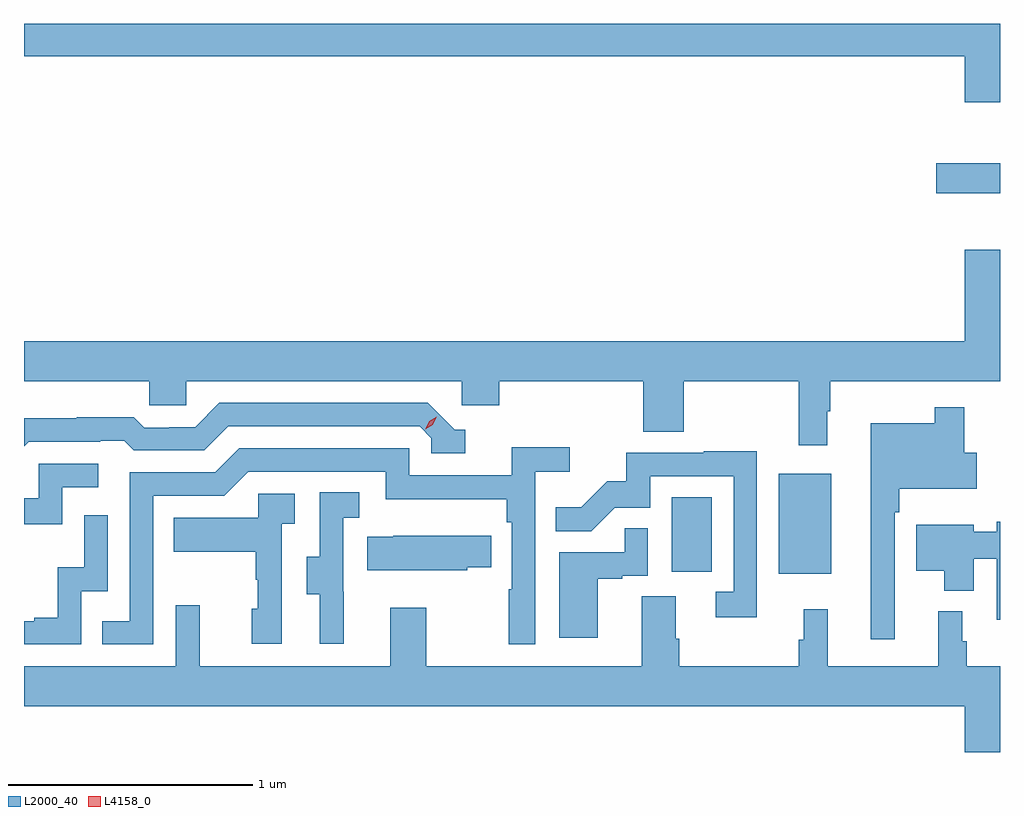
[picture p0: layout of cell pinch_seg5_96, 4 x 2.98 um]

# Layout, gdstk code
import gdstk
lib = gdstk.Library(unit=1e-6, precision=1e-09)
def R(c, l, rs):  # rectangles x0, y0, x1, y1
    for r in rs: c.add(gdstk.rectangle(r[:2], r[2:], *l))
def P(c, l, *ps):  # polygons
    for p in ps: c.add(gdstk.Polygon(p, *l))
L2000_40 = (2000, 40)
L4158_0 = (4158, 0)

pinch_seg5_96 = lib.new_cell('pinch_seg5_96')
R(pinch_seg5_96, L2000_40, [(1075.334,913.247,1075.549,913.657), (1074.896,913.254,1075.06,913.561), (1075.98,914.807,1076.241,914.929)])
P(pinch_seg5_96, L2000_40, [(1076.241,915.5),(1072.241,915.5),(1072.241,915.368),(1076.096,915.368),(1076.096,915.18),(1076.241,915.18)],
  [(1075.534,913.913),(1075.546,913.913),(1075.546,914.036),(1076.241,914.036),(1076.241,914.575),(1076.096,914.575),(1076.096,914.2),(1072.241,914.2),(1072.241,914.036),(1072.755,914.036),(1072.755,913.938),(1072.905,913.938),(1072.905,914.036),(1074.036,914.036),(1074.036,913.938),(1074.188,913.938),(1074.188,914.036),(1074.779,914.036),(1074.779,913.828),(1074.944,913.828),(1074.944,914.036),(1075.417,914.036),(1075.417,913.773),(1075.534,913.773)],
  [(1074.049,913.836),(1074.006,913.836),(1073.895,913.947),(1073.042,913.947),(1072.943,913.848),(1072.836,913.848),(1072.836,913.845),(1072.733,913.845),(1072.691,913.888),(1072.458,913.888),(1072.458,913.885),(1072.241,913.885),(1072.241,913.769),(1072.26,913.788),(1072.553,913.788),(1072.553,913.791),(1072.652,913.791),(1072.691,913.752),(1072.98,913.752),(1073.079,913.851),(1073.862,913.851),(1073.91,913.803),(1073.91,913.74),(1074.049,913.74)],
  [(1075.809,913.499),(1075.829,913.499),(1075.829,913.595),(1076.146,913.595),(1076.146,913.743),(1076.095,913.743),(1076.095,913.93),(1075.974,913.93),(1075.974,913.864),(1075.712,913.864),(1075.712,912.978),(1075.809,912.978)],
  [(1072.77,913.566),(1073.061,913.566),(1073.16,913.665),(1073.724,913.665),(1073.724,913.553),(1074.22,913.553),(1074.22,913.457),(1074.24,913.457),(1074.24,913.184),(1074.228,913.184),(1074.228,912.957),(1074.336,912.957),(1074.336,913.664),(1074.478,913.664),(1074.478,913.766),(1074.239,913.766),(1074.239,913.65),(1073.82,913.65),(1073.82,913.761),(1073.123,913.761),(1073.024,913.662),(1072.674,913.662),(1072.674,913.053),(1072.561,913.053),(1072.561,912.957),(1072.77,912.957)],
  [(1075.245,913.748),(1075.027,913.748),(1075.027,913.743),(1074.709,913.743),(1074.709,913.626),(1074.632,913.626),(1074.525,913.519),(1074.421,913.519),(1074.421,913.42),(1074.565,913.42),(1074.663,913.518),(1074.807,913.518),(1074.807,913.647),(1075.149,913.647),(1075.149,913.173),(1075.077,913.173),(1075.077,913.068),(1075.245,913.068)],
  [(1072.398,913.602),(1072.546,913.602),(1072.546,913.698),(1072.302,913.698),(1072.302,913.557),(1072.241,913.557),(1072.241,913.449),(1072.398,913.449)],
  [(1073.552,913.173),(1073.55,913.173),(1073.55,913.477),(1073.614,913.477),(1073.614,913.58),(1073.454,913.58),(1073.454,913.317),(1073.399,913.317),(1073.399,913.162),(1073.453,913.162),(1073.453,912.96),(1073.552,912.96)],
  [(1073.298,913.451),(1073.35,913.451),(1073.35,913.575),(1073.202,913.575),(1073.202,913.477),(1072.855,913.477),(1072.855,913.337),(1073.19,913.337),(1073.19,913.223),(1073.2,913.223),(1073.2,913.104),(1073.174,913.104),(1073.174,912.96),(1073.298,912.96)],
  [(1072.476,913.176),(1072.584,913.176),(1072.584,913.486),(1072.488,913.486),(1072.488,913.274),(1072.379,913.274),(1072.379,913.066),(1072.283,913.066),(1072.283,913.053),(1072.241,913.053),(1072.241,912.957),(1072.476,912.957)],
  [(1076.241,913.46),(1076.228,913.46),(1076.228,913.418),(1076.134,913.418),(1076.134,913.447),(1075.898,913.447),(1075.898,913.259),(1076.012,913.259),(1076.012,913.178),(1076.134,913.178),(1076.134,913.308),(1076.228,913.308),(1076.228,913.059),(1076.241,913.059)],
  [(1074.592,913.227),(1074.692,913.227),(1074.692,913.239),(1074.798,913.239),(1074.798,913.433),(1074.703,913.433),(1074.703,913.335),(1074.434,913.335),(1074.434,912.984),(1074.592,912.984)],
  [(1074.057,913.273),(1074.155,913.273),(1074.155,913.402),(1073.755,913.402),(1073.755,913.399),(1073.647,913.399),(1073.647,913.262),(1074.057,913.262)],
  [(1076.241,912.868),(1076.105,912.868),(1076.105,912.971),(1076.086,912.971),(1076.086,913.093),(1075.988,913.093),(1075.988,912.868),(1075.535,912.868),(1075.535,913.102),(1075.436,913.102),(1075.436,912.977),(1075.417,912.977),(1075.417,912.868),(1074.926,912.868),(1074.926,912.98),(1074.913,912.98),(1074.913,913.154),(1074.773,913.154),(1074.773,912.868),(1073.889,912.868),(1073.889,913.108),(1073.741,913.108),(1073.741,912.868),(1072.961,912.868),(1072.961,913.117),(1072.863,913.117),(1072.863,912.868),(1072.241,912.868),(1072.241,912.704),(1076.096,912.704),(1076.096,912.516),(1076.241,912.516)])
P(pinch_seg5_96, L4158_0, [(1073.885,913.838),(1073.885,913.838),(1073.901,913.871),(1073.932,913.89),(1073.932,913.89),(1073.932,913.89),(1073.916,913.857),(1073.885,913.838)])

lib.write_gds('pinch_seg5_96.gds')
